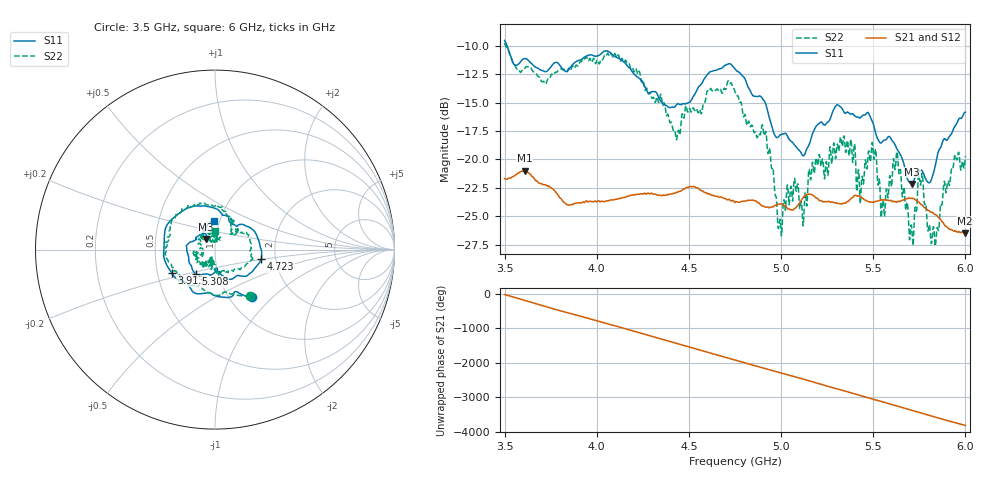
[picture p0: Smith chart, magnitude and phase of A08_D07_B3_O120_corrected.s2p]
! Created with skrf 1.9.0 (http://scikit-rf.org).
# Hz S RI R 50.0
!freq ReS11 ImS11 ReS21 ImS21 ReS12 ImS12 ReS22 ImS22
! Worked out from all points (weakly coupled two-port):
!   1601 points, 3.5 GHz to 6 GHz, reference 50 ohm
!   highest |S21| = -21.00 dB at 3.609 GHz (marker M1); lowest = -26.5 dB at 5.997 GHz (marker M2)
!   lowest |S11| = -22.1 dB at 5.711 GHz (marker M3), VSWR 1.17, Z = 44.9 + j5.41 ohm
!   |S11| at or under -10 dB: 3.513 GHz to end of sweep
!   |S22| runs from -27.6 to -9.8 dB; largest |S21 - S12| = 0.0011
!   S11 on the Smith chart (normalised r, x): 3.5 GHz: 1.26, -0.75; 3.913 GHz: 0.59, -0.17; 4.723 GHz: 1.68, -0.19; 5.308 GHz: 0.78, -0.22; 6 GHz: 0.93, +0.31
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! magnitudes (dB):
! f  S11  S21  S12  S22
! 3.5 GHz  -9.5  -21.7  -21.7  -9.8
! 3.609 GHz  -11.1  -21.0  -21.0  -12.0
! 3.913 GHz  -11.2  -23.8  -23.8  -11.4
! 3.917 GHz  -11.2  -23.8  -23.8  -11.3
! 4.334 GHz  -14.5  -23.1  -23.1  -15.0
! 4.439 GHz  -15.1  -22.9  -22.8  -17.6
! 4.723 GHz  -11.6  -23.6  -23.5  -13.3
! 4.75 GHz  -12.0  -23.8  -23.7  -14.0
! 4.909 GHz  -14.9  -24.1  -24.1  -17.9
! 4.994 GHz  -17.9  -23.9  -23.9  -25.3
! 5.167 GHz  -17.9  -23.1  -23.1  -20.6
! 5.308 GHz  -15.2  -23.9  -23.8  -18.8
! 5.438 GHz  -16.2  -23.4  -23.4  -21.6
! 5.503 GHz  -17.0  -23.8  -23.7  -20.0
! 5.552 GHz  -18.4  -23.6  -23.5  -23.7
! 5.584 GHz  -18.0  -23.6  -23.6  -22.5
! 5.636 GHz  -19.3  -23.7  -23.7  -20.6
! 5.711 GHz  -22.1  -23.4  -23.4  -26.5
! 5.755 GHz  -21.0  -23.9  -23.9  -22.1
! 5.827 GHz  -21.2  -24.7  -24.7  -25.9
! 5.997 GHz  -15.9  -26.5  -26.4  -20.4
! 6 GHz  -15.9  -26.5  -26.4  -19.7
